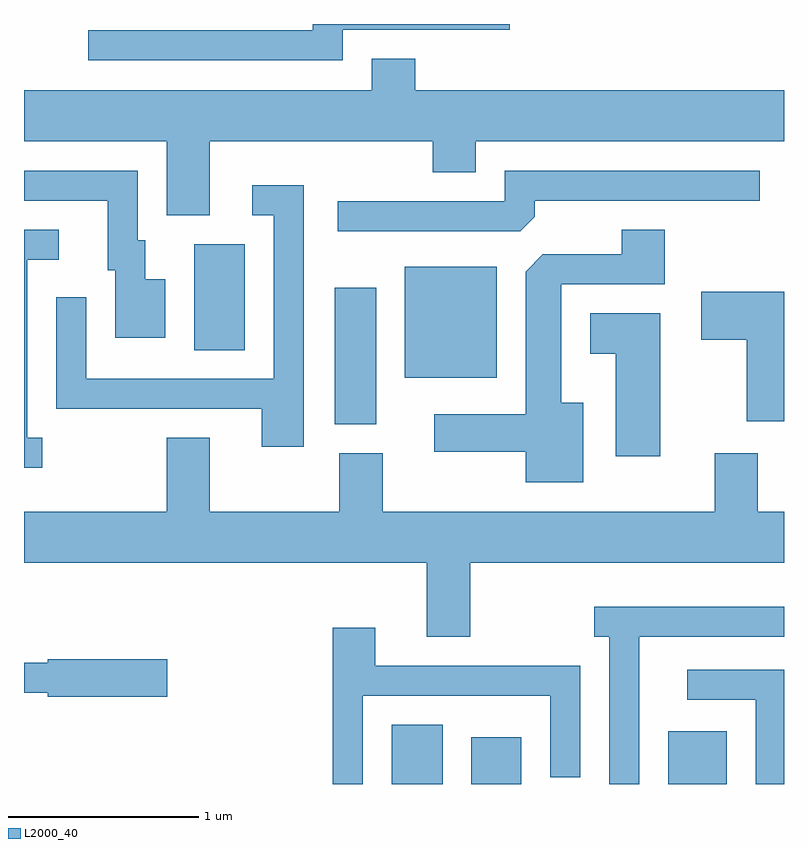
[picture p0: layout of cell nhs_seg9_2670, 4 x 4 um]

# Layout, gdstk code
import gdstk
lib = gdstk.Library(unit=1e-6, precision=1e-09)
def R(c, l, rs):  # rectangles x0, y0, x1, y1
    for r in rs: c.add(gdstk.rectangle(r[:2], r[2:], *l))
def P(c, l, *ps):  # polygons
    for p in ps: c.add(gdstk.Polygon(p, *l))
L2000_40 = (2000, 40)

nhs_seg9_2670 = lib.new_cell('nhs_seg9_2670')
R(nhs_seg9_2670, L2000_40, [(265.546,1988.432,265.814,1988.744), (265.966,1988.432,266.229,1988.679), (267.001,1988.432,267.309,1988.709), (265.246,1990.326,265.464,1991.044), (265.616,1990.571,266.099,1991.154), (264.506,1990.716,264.774,1991.274)])
P(nhs_seg9_2670, L2000_40, [(265.289,1992.401),(266.168,1992.401),(266.168,1992.432),(265.131,1992.432),(265.131,1992.399),(263.948,1992.399),(263.948,1992.241),(265.289,1992.241)],
  [(264.589,1991.816),(265.761,1991.816),(265.761,1991.651),(265.989,1991.651),(265.989,1991.816),(267.611,1991.816),(267.611,1992.084),(265.669,1992.084),(265.669,1992.249),(265.441,1992.249),(265.441,1992.084),(263.611,1992.084),(263.611,1991.816),(264.361,1991.816),(264.361,1991.426),(264.589,1991.426)],
  [(266.299,1991.417),(266.299,1991.501),(267.483,1991.501),(267.483,1991.659),(266.141,1991.659),(266.141,1991.499),(265.263,1991.499),(265.263,1991.341),(266.224,1991.341)],
  [(264.354,1991.089),(264.249,1991.089),(264.249,1991.294),(264.209,1991.294),(264.209,1991.659),(263.611,1991.659),(263.611,1991.501),(264.051,1991.501),(264.051,1991.136),(264.091,1991.136),(264.091,1990.781),(264.354,1990.781)],
  [(265.084,1991.584),(264.813,1991.584),(264.813,1991.426),(264.926,1991.426),(264.926,1990.564),(263.939,1990.564),(263.939,1990.993),(263.781,1990.993),(263.781,1990.406),(264.861,1990.406),(264.861,1990.206),(265.084,1990.206)],
  [(263.708,1990.254),(263.629,1990.254),(263.629,1991.191),(263.793,1991.191),(263.793,1991.349),(263.611,1991.349),(263.611,1990.096),(263.708,1990.096)],
  [(266.554,1990.439),(266.439,1990.439),(266.439,1991.061),(266.984,1991.061),(266.984,1991.349),(266.756,1991.349),(266.756,1991.219),(266.342,1991.219),(266.251,1991.129),(266.251,1990.379),(265.771,1990.379),(265.771,1990.181),(266.251,1990.181),(266.251,1990.021),(266.554,1990.021)],
  [(267.611,1991.024),(267.176,1991.024),(267.176,1990.771),(267.416,1990.771),(267.416,1990.341),(267.611,1990.341)],
  [(266.959,1990.909),(266.591,1990.909),(266.591,1990.696),(266.726,1990.696),(266.726,1990.156),(266.959,1990.156)],
  [(265.959,1989.596),(267.611,1989.596),(267.611,1989.864),(267.474,1989.864),(267.474,1990.174),(267.246,1990.174),(267.246,1989.864),(265.499,1989.864),(265.499,1990.174),(265.271,1990.174),(265.271,1989.864),(264.589,1989.864),(264.589,1990.254),(264.361,1990.254),(264.361,1989.864),(263.611,1989.864),(263.611,1989.596),(265.731,1989.596),(265.731,1989.206),(265.959,1989.206)],
  [(266.849,1989.206),(267.611,1989.206),(267.611,1989.364),(266.613,1989.364),(266.613,1989.206),(266.691,1989.206),(266.691,1988.432),(266.849,1988.432)],
  [(265.394,1988.896),(266.381,1988.896),(266.381,1988.468),(266.539,1988.468),(266.539,1989.054),(265.459,1989.054),(265.459,1989.254),(265.236,1989.254),(265.236,1988.432),(265.394,1988.432)],
  [(264.364,1989.089),(263.736,1989.089),(263.736,1989.069),(263.611,1989.069),(263.611,1988.911),(263.736,1988.911),(263.736,1988.891),(264.364,1988.891)],
  [(267.611,1989.034),(267.103,1989.034),(267.103,1988.876),(267.461,1988.876),(267.461,1988.432),(267.611,1988.432)])

lib.write_gds('nhs_seg9_2670.gds')
